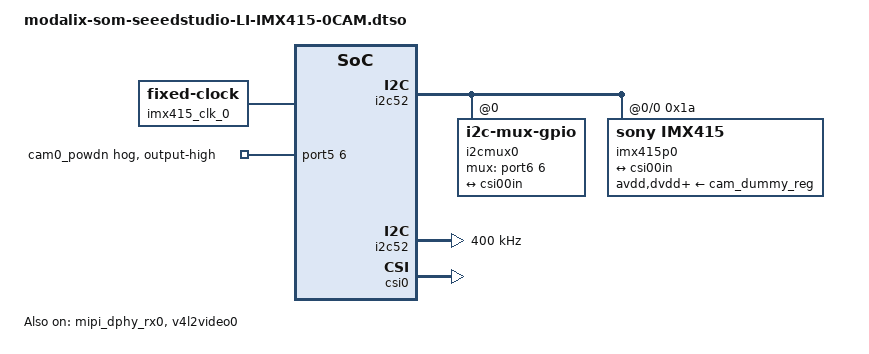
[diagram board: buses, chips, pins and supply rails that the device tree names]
// SPDX-License-Identifier: (GPL-2.0+ OR MIT)
/*
 * Copyright (c) 2026 SiMa ai
 *
 * LI IMX415 on the Seeed Studio CAM0 connector (CSI0, GPIO-mux child 0,
 * cam0_powdn).
 *
 * This carrier connector routes two CSI-2 lanes. The 37.125 MHz INCK and
 * 891 Mbps/lane match the other in-tree LI IMX415 overlays.
 */

/dts-v1/;
/plugin/;

#include <dt-bindings/gpio/gpio.h>

&{/} {
    imx415_clk_0: csi0_camera-clk {
        compatible = "fixed-clock";
        #clock-cells = <0>;
        clock-frequency = <37125000>;
    };

    i2cmux0: i2cmux@0 {
        compatible = "i2c-mux-gpio";
        i2c-parent = <&i2c52>;
        #address-cells = <1>;
        #size-cells = <0>;
        mux-gpios = <&port6 6 GPIO_ACTIVE_HIGH>;

        i2cmux0p0: i2c@0 {
            reg = <0>;
            #address-cells = <1>;
            #size-cells = <0>;
        };
    };
};

&port5 {
    cam-hog0 {
        gpio-hog;
        gpios = <6 GPIO_ACTIVE_HIGH>;
        output-high;
        line-name = "cam0_powdn";
    };
};

&i2c52 {
    status = "okay";
    clock-frequency = <400000>;
    #address-cells = <1>;
    #size-cells = <0>;
};

&csi0 {
    status = "okay";
};

&axi_vdma0 {
    status = "okay";
};

&mipi_dphy_rx0 {
    status = "okay";
};

&v4l2video0 {
    status = "okay";
};

&v4l2vdma0 {
    status = "okay";
};

&csi00in {
    clock-lanes = <0>;
    data-lanes = <1 2>;
    link-frequencies = /bits/ 64 <445500000>;
    remote-endpoint = <&cam00out>;
};

&i2cmux0p0 {
    imx415p0: imx415@1a {
        compatible = "sony,imx415";
        reg = <0x1a>;

        clocks = <&imx415_clk_0>;

        avdd-supply = <&cam_dummy_reg>;
        dvdd-supply = <&cam_dummy_reg>;
        ovdd-supply = <&cam_dummy_reg>;

        orientation = <2>;

        port {
            cam00out: endpoint {
                clock-lanes = <0>;
                data-lanes = <1 2>;
                link-frequencies = /bits/ 64 <445500000>;
                remote-endpoint = <&csi00in>;
            };
        };
    };
};
